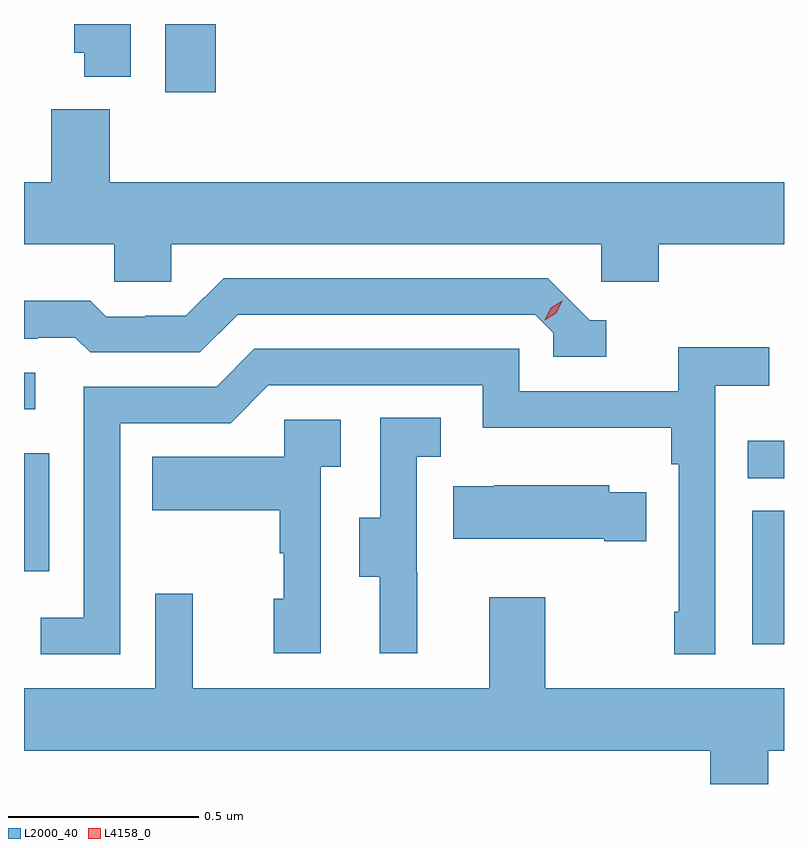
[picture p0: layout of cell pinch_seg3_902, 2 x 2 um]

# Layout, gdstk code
import gdstk
lib = gdstk.Library(unit=1e-6, precision=1e-09)
def R(c, l, rs):  # rectangles x0, y0, x1, y1
    for r in rs: c.add(gdstk.rectangle(r[:2], r[2:], *l))
def P(c, l, *ps):  # polygons
    for p in ps: c.add(gdstk.Polygon(p, *l))
L2000_40 = (2000, 40)
L4158_0 = (4158, 0)

pinch_seg3_902 = lib.new_cell('pinch_seg3_902')
R(pinch_seg3_902, L2000_40, [(868.64,705.192,868.723,705.543), (866.723,705.384,866.79,705.694), (868.627,705.628,868.723,705.727), (866.723,705.81,866.752,705.906), (867.095,706.644,867.227,706.824)])
P(pinch_seg3_902, L2000_40, [(867.004,706.824),(866.855,706.824),(866.855,706.749),(866.882,706.749),(866.882,706.685),(867.004,706.685)],
  [(867.111,706.244),(868.242,706.244),(868.242,706.146),(868.394,706.146),(868.394,706.244),(868.723,706.244),(868.723,706.408),(866.948,706.408),(866.948,706.6),(866.795,706.6),(866.795,706.408),(866.723,706.408),(866.723,706.244),(866.961,706.244),(866.961,706.146),(867.111,706.146)],
  [(868.255,706.044),(868.212,706.044),(868.101,706.155),(867.248,706.155),(867.149,706.056),(867.042,706.056),(867.042,706.053),(866.939,706.053),(866.897,706.096),(866.723,706.096),(866.723,705.996),(866.759,705.996),(866.759,705.999),(866.858,705.999),(866.897,705.96),(867.186,705.96),(867.285,706.059),(868.068,706.059),(868.116,706.011),(868.116,705.948),(868.255,705.948)],
  [(866.976,705.774),(867.267,705.774),(867.366,705.873),(867.93,705.873),(867.93,705.761),(868.426,705.761),(868.426,705.665),(868.446,705.665),(868.446,705.277),(868.434,705.277),(868.434,705.165),(868.542,705.165),(868.542,705.872),(868.684,705.872),(868.684,705.974),(868.445,705.974),(868.445,705.858),(868.026,705.858),(868.026,705.969),(867.329,705.969),(867.23,705.87),(866.88,705.87),(866.88,705.261),(866.767,705.261),(866.767,705.165),(866.976,705.165)],
  [(867.758,705.381),(867.756,705.381),(867.756,705.685),(867.82,705.685),(867.82,705.788),(867.66,705.788),(867.66,705.525),(867.605,705.525),(867.605,705.37),(867.659,705.37),(867.659,705.168),(867.758,705.168)],
  [(867.504,705.659),(867.556,705.659),(867.556,705.783),(867.408,705.783),(867.408,705.685),(867.061,705.685),(867.061,705.545),(867.396,705.545),(867.396,705.431),(867.406,705.431),(867.406,705.312),(867.38,705.312),(867.38,705.168),(867.504,705.168)],
  [(868.361,705.592),(868.263,705.592),(868.263,705.61),(867.961,705.61),(867.961,705.607),(867.853,705.607),(867.853,705.47),(868.25,705.47),(868.25,705.463),(868.361,705.463)],
  [(868.681,704.912),(868.723,704.912),(868.723,705.076),(868.095,705.076),(868.095,705.316),(867.947,705.316),(867.947,705.076),(867.167,705.076),(867.167,705.325),(867.069,705.325),(867.069,705.076),(866.723,705.076),(866.723,704.912),(868.529,704.912),(868.529,704.824),(868.681,704.824)])
P(pinch_seg3_902, L4158_0, [(868.093,706.044),(868.093,706.044),(868.109,706.077),(868.14,706.096),(868.14,706.096),(868.14,706.096),(868.124,706.063),(868.094,706.044)])

lib.write_gds('pinch_seg3_902.gds')
